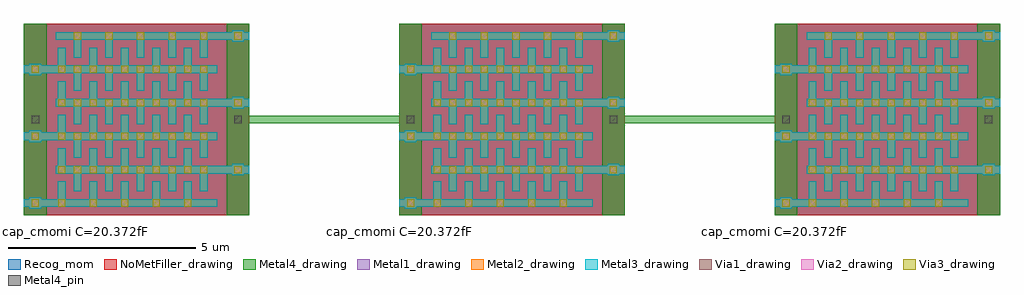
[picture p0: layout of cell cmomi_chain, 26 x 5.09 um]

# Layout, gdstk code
import gdstk
lib = gdstk.Library(unit=1e-6, precision=1e-09)
def R(c, l, rs):  # rectangles x0, y0, x1, y1
    for r in rs: c.add(gdstk.rectangle(r[:2], r[2:], *l))
def A(c, l, x, y, w, h, nx, ny, dx, dy):  # array of equal rectangles
    R(c, l, [(x+i*dx, y+j*dy, x+i*dx+w, y+j*dy+h) for i in range(nx) for j in range(ny)])
Metal1_drawing = (8, 0)
Metal2_drawing = (10, 0)
Via1_drawing = (19, 0)
Via2_drawing = (29, 0)
Metal3_drawing = (30, 0)
Via3_drawing = (49, 0)
Metal4_drawing = (50, 0)
Metal4_pin = (50, 2)
Recog_mom = (99, 39)
NoMetFiller_drawing = (160, 0)

cmomi_chain = lib.new_cell('cmomi_chain')
A(cmomi_chain, Metal1_drawing, 0.145, -0.155, 0.31, 0.31, 3, 3, 10, 1.78)
A(cmomi_chain, Metal1_drawing, 0, -0.105, 5.15, 0.21, 3, 3, 10, 1.78)
A(cmomi_chain, Metal1_drawing, 0.9, 0, 0.21, 0.575, 5, 5, 0.84, 0.89)
A(cmomi_chain, Metal1_drawing, 10.9, 0, 0.21, 0.575, 5, 5, 0.84, 0.89)
A(cmomi_chain, Metal1_drawing, 20.9, 0, 0.21, 0.575, 5, 5, 0.84, 0.89)
A(cmomi_chain, Metal1_drawing, 1.32, 0.315, 0.21, 0.575, 5, 5, 0.84, 0.89)
A(cmomi_chain, Metal1_drawing, 11.32, 0.315, 0.21, 0.575, 5, 5, 0.84, 0.89)
A(cmomi_chain, Metal1_drawing, 21.32, 0.315, 0.21, 0.575, 5, 5, 0.84, 0.89)
A(cmomi_chain, Metal1_drawing, 5.545, 0.735, 0.31, 0.31, 3, 3, 10, 1.78)
A(cmomi_chain, Metal1_drawing, 0.85, 0.785, 5.15, 0.21, 3, 3, 10, 1.78)
A(cmomi_chain, Metal2_drawing, 0.145, -0.155, 0.31, 0.31, 3, 3, 10, 1.78)
A(cmomi_chain, Metal2_drawing, 0, -0.105, 5.15, 0.21, 3, 3, 10, 1.78)
A(cmomi_chain, Metal2_drawing, 0.9, 0, 0.21, 0.575, 5, 5, 0.84, 0.89)
A(cmomi_chain, Metal2_drawing, 10.9, 0, 0.21, 0.575, 5, 5, 0.84, 0.89)
A(cmomi_chain, Metal2_drawing, 20.9, 0, 0.21, 0.575, 5, 5, 0.84, 0.89)
A(cmomi_chain, Metal2_drawing, 1.32, 0.315, 0.21, 0.575, 5, 5, 0.84, 0.89)
A(cmomi_chain, Metal2_drawing, 11.32, 0.315, 0.21, 0.575, 5, 5, 0.84, 0.89)
A(cmomi_chain, Metal2_drawing, 21.32, 0.315, 0.21, 0.575, 5, 5, 0.84, 0.89)
A(cmomi_chain, Metal2_drawing, 5.545, 0.735, 0.31, 0.31, 3, 3, 10, 1.78)
A(cmomi_chain, Metal2_drawing, 0.85, 0.785, 5.15, 0.21, 3, 3, 10, 1.78)
A(cmomi_chain, Via1_drawing, 0.205, -0.095, 0.19, 0.19, 1, 3, 0, 1.78)
A(cmomi_chain, Via1_drawing, 0.91, -0.095, 0.19, 0.19, 5, 1, 0.84, 0)
A(cmomi_chain, Via1_drawing, 10.205, -0.095, 0.19, 0.19, 1, 3, 0, 1.78)
A(cmomi_chain, Via1_drawing, 10.91, -0.095, 0.19, 0.19, 5, 1, 0.84, 0)
A(cmomi_chain, Via1_drawing, 20.205, -0.095, 0.19, 0.19, 1, 3, 0, 1.78)
A(cmomi_chain, Via1_drawing, 20.91, -0.095, 0.19, 0.19, 5, 1, 0.84, 0)
A(cmomi_chain, Via1_drawing, 0.91, 0.795, 0.19, 0.19, 10, 4, 0.42, 0.89)
A(cmomi_chain, Via1_drawing, 5.605, 0.795, 0.19, 0.19, 1, 3, 0, 1.78)
A(cmomi_chain, Via1_drawing, 10.91, 0.795, 0.19, 0.19, 10, 4, 0.42, 0.89)
A(cmomi_chain, Via1_drawing, 15.605, 0.795, 0.19, 0.19, 1, 3, 0, 1.78)
A(cmomi_chain, Via1_drawing, 20.91, 0.795, 0.19, 0.19, 10, 4, 0.42, 0.89)
A(cmomi_chain, Via1_drawing, 25.605, 0.795, 0.19, 0.19, 1, 3, 0, 1.78)
A(cmomi_chain, Via1_drawing, 1.33, 4.355, 0.19, 0.19, 5, 1, 0.84, 0)
A(cmomi_chain, Via1_drawing, 11.33, 4.355, 0.19, 0.19, 5, 1, 0.84, 0)
A(cmomi_chain, Via1_drawing, 21.33, 4.355, 0.19, 0.19, 5, 1, 0.84, 0)
A(cmomi_chain, Via2_drawing, 0.205, -0.095, 0.19, 0.19, 1, 3, 0, 1.78)
A(cmomi_chain, Via2_drawing, 0.91, -0.095, 0.19, 0.19, 5, 1, 0.84, 0)
A(cmomi_chain, Via2_drawing, 10.205, -0.095, 0.19, 0.19, 1, 3, 0, 1.78)
A(cmomi_chain, Via2_drawing, 10.91, -0.095, 0.19, 0.19, 5, 1, 0.84, 0)
A(cmomi_chain, Via2_drawing, 20.205, -0.095, 0.19, 0.19, 1, 3, 0, 1.78)
A(cmomi_chain, Via2_drawing, 20.91, -0.095, 0.19, 0.19, 5, 1, 0.84, 0)
A(cmomi_chain, Via2_drawing, 0.91, 0.795, 0.19, 0.19, 10, 4, 0.42, 0.89)
A(cmomi_chain, Via2_drawing, 5.605, 0.795, 0.19, 0.19, 1, 3, 0, 1.78)
A(cmomi_chain, Via2_drawing, 10.91, 0.795, 0.19, 0.19, 10, 4, 0.42, 0.89)
A(cmomi_chain, Via2_drawing, 15.605, 0.795, 0.19, 0.19, 1, 3, 0, 1.78)
A(cmomi_chain, Via2_drawing, 20.91, 0.795, 0.19, 0.19, 10, 4, 0.42, 0.89)
A(cmomi_chain, Via2_drawing, 25.605, 0.795, 0.19, 0.19, 1, 3, 0, 1.78)
A(cmomi_chain, Via2_drawing, 1.33, 4.355, 0.19, 0.19, 5, 1, 0.84, 0)
A(cmomi_chain, Via2_drawing, 11.33, 4.355, 0.19, 0.19, 5, 1, 0.84, 0)
A(cmomi_chain, Via2_drawing, 21.33, 4.355, 0.19, 0.19, 5, 1, 0.84, 0)
A(cmomi_chain, Metal3_drawing, 0.145, -0.155, 0.31, 0.31, 3, 3, 10, 1.78)
A(cmomi_chain, Metal3_drawing, 0, -0.105, 5.15, 0.21, 3, 3, 10, 1.78)
A(cmomi_chain, Metal3_drawing, 0.9, 0, 0.21, 0.575, 5, 5, 0.84, 0.89)
A(cmomi_chain, Metal3_drawing, 10.9, 0, 0.21, 0.575, 5, 5, 0.84, 0.89)
A(cmomi_chain, Metal3_drawing, 20.9, 0, 0.21, 0.575, 5, 5, 0.84, 0.89)
A(cmomi_chain, Metal3_drawing, 1.32, 0.315, 0.21, 0.575, 5, 5, 0.84, 0.89)
A(cmomi_chain, Metal3_drawing, 11.32, 0.315, 0.21, 0.575, 5, 5, 0.84, 0.89)
A(cmomi_chain, Metal3_drawing, 21.32, 0.315, 0.21, 0.575, 5, 5, 0.84, 0.89)
A(cmomi_chain, Metal3_drawing, 5.545, 0.735, 0.31, 0.31, 3, 3, 10, 1.78)
A(cmomi_chain, Metal3_drawing, 0.85, 0.785, 5.15, 0.21, 3, 3, 10, 1.78)
A(cmomi_chain, Via3_drawing, 0.205, -0.095, 0.19, 0.19, 1, 3, 0, 1.78)
A(cmomi_chain, Via3_drawing, 0.91, -0.095, 0.19, 0.19, 5, 1, 0.84, 0)
A(cmomi_chain, Via3_drawing, 10.205, -0.095, 0.19, 0.19, 1, 3, 0, 1.78)
A(cmomi_chain, Via3_drawing, 10.91, -0.095, 0.19, 0.19, 5, 1, 0.84, 0)
A(cmomi_chain, Via3_drawing, 20.205, -0.095, 0.19, 0.19, 1, 3, 0, 1.78)
A(cmomi_chain, Via3_drawing, 20.91, -0.095, 0.19, 0.19, 5, 1, 0.84, 0)
A(cmomi_chain, Via3_drawing, 0.91, 0.795, 0.19, 0.19, 10, 4, 0.42, 0.89)
A(cmomi_chain, Via3_drawing, 5.605, 0.795, 0.19, 0.19, 1, 3, 0, 1.78)
A(cmomi_chain, Via3_drawing, 10.91, 0.795, 0.19, 0.19, 10, 4, 0.42, 0.89)
A(cmomi_chain, Via3_drawing, 15.605, 0.795, 0.19, 0.19, 1, 3, 0, 1.78)
A(cmomi_chain, Via3_drawing, 20.91, 0.795, 0.19, 0.19, 10, 4, 0.42, 0.89)
A(cmomi_chain, Via3_drawing, 25.605, 0.795, 0.19, 0.19, 1, 3, 0, 1.78)
A(cmomi_chain, Via3_drawing, 1.33, 4.355, 0.19, 0.19, 5, 1, 0.84, 0)
A(cmomi_chain, Via3_drawing, 11.33, 4.355, 0.19, 0.19, 5, 1, 0.84, 0)
A(cmomi_chain, Via3_drawing, 21.33, 4.355, 0.19, 0.19, 5, 1, 0.84, 0)
A(cmomi_chain, Metal4_drawing, 0, -0.105, 5.15, 0.21, 3, 3, 10, 1.78)
A(cmomi_chain, Metal4_drawing, 0.9, 0, 0.21, 0.575, 5, 5, 0.84, 0.89)
A(cmomi_chain, Metal4_drawing, 10.9, 0, 0.21, 0.575, 5, 5, 0.84, 0.89)
A(cmomi_chain, Metal4_drawing, 20.9, 0, 0.21, 0.575, 5, 5, 0.84, 0.89)
A(cmomi_chain, Metal4_drawing, 1.32, 0.315, 0.21, 0.575, 5, 5, 0.84, 0.89)
A(cmomi_chain, Metal4_drawing, 11.32, 0.315, 0.21, 0.575, 5, 5, 0.84, 0.89)
A(cmomi_chain, Metal4_drawing, 21.32, 0.315, 0.21, 0.575, 5, 5, 0.84, 0.89)
A(cmomi_chain, Metal4_drawing, 0.85, 0.785, 5.15, 0.21, 3, 3, 10, 1.78)
R(cmomi_chain, Metal4_drawing, [(0,-0.32,0.6,4.77), (5.4,-0.32,6,4.77), (10,-0.32,10.6,4.77), (15.4,-0.32,16,4.77), (20,-0.32,20.6,4.77), (25.4,-0.32,26,4.77), (5.6,2.12,10.4,2.33), (15.6,2.12,20.4,2.33)])
R(cmomi_chain, Metal4_pin, [(0.2,2.12,0.4,2.33), (5.6,2.12,5.8,2.33), (10.2,2.12,10.4,2.33), (15.6,2.12,15.8,2.33), (20.2,2.12,20.4,2.33), (25.6,2.12,25.8,2.33)])
A(cmomi_chain, Recog_mom, 0, -0.32, 6, 5.09, 3, 1, 10, 0)
A(cmomi_chain, NoMetFiller_drawing, 0, -0.32, 6, 5.09, 3, 1, 10, 0)
cmomi_chain.add(gdstk.Label('cap_cmomi C=20.372fF', (0,-0.82), layer=63, texttype=0))
cmomi_chain.add(gdstk.Label('cap_cmomi C=20.372fF', (10,-0.82), layer=63, texttype=0))
cmomi_chain.add(gdstk.Label('cap_cmomi C=20.372fF', (20,-0.82), layer=63, texttype=0))

lib.write_gds('cmomi_chain.gds')
